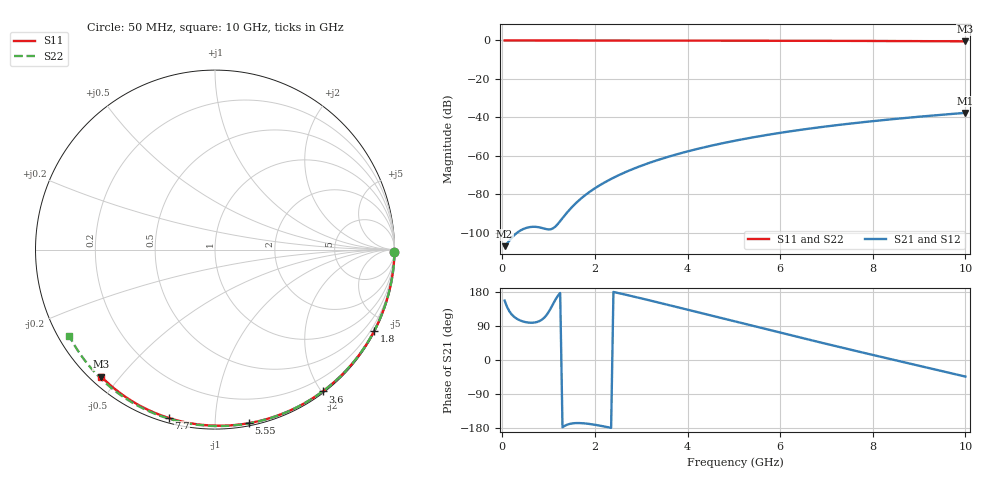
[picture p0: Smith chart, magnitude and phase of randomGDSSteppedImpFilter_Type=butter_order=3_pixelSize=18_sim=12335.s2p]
! freq	dB(S11)	phase(S11)	dB(S12)	phase(S12)
!  dB(S21)	phase(S21)	dB(S22)	phase(S22)
!S-par simulation data
#  GHz  S  DB  R 50
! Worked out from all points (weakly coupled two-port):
!   200 points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, 50 MHz to 10 GHz, reference 50 ohm
!   highest |S21| = -37.68 dB at 10 GHz (marker M1); lowest = -107.1 dB at 50 MHz (marker M2)
!   lowest |S11| = -0.4 dB at 10 GHz (marker M3), VSWR 38.90, Z = 1.54 - j22.3 ohm
!   |S11| at or under -10 dB: nowhere
!   |S22| runs from -0.5 to 0.0 dB; largest |S21 - S12| = 0
!   S11 on the Smith chart (normalised r, x): 50 MHz: open; 1.8 GHz: 0.04, -4.16; 3.6 GHz: 0.02, -2.01; 5.55 GHz: 0.02, -1.21; 7.7 GHz: 0.02, -0.76; 10 GHz: 0.03, -0.45
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0.05  -0.00 -0.8  -107.06 156.8  -107.06 156.8  -0.00 -0.9
0.45  -0.01 -6.9  -98.18 101.6  -98.18 101.6  -0.01 -7.8
0.9  -0.02 -13.6  -97.86 110.9  -97.86 110.9  -0.02 -15.4
1.3  -0.02 -19.6  -92.48 -177.6  -92.48 -177.6  -0.03 -22.2
1.75  -0.03 -26.3  -81.28 -167.0  -81.28 -167.0  -0.04 -29.7
1.8  -0.03 -27.0  -80.33 -167.6  -80.33 -167.6  -0.04 -30.5
1.85  -0.04 -27.8  -79.43 -168.2  -79.43 -168.2  -0.04 -31.4
2  -0.04 -30.0  -76.93 -170.9  -76.93 -170.9  -0.04 -33.8
2.15  -0.04 -32.2  -74.71 -174.2  -74.71 -174.2  -0.05 -36.3
2.5  -0.05 -37.2  -70.28 176.9  -70.28 176.9  -0.05 -42.0
2.9  -0.06 -43.0  -66.14 165.6  -66.14 165.6  -0.06 -48.5
3.4  -0.07 -50.0  -61.90 150.8  -61.90 150.8  -0.07 -56.4
3.6  -0.07 -52.8  -60.42 144.9  -60.42 144.9  -0.08 -59.6
4.3  -0.09 -62.4  -55.94 123.7  -55.94 123.7  -0.10 -70.3
5.05  -0.11 -72.4  -52.05 100.9  -52.05 100.9  -0.13 -81.5
5.55  -0.13 -78.9  -49.85 85.8  -49.85 85.8  -0.15 -88.8
6.1  -0.15 -85.9  -47.71 69.3  -47.71 69.3  -0.17 -96.6
6.7  -0.18 -93.3  -45.66 51.4  -45.66 51.4  -0.20 -105.0
7.7  -0.24 -105.4  -42.76 22.0  -42.76 22.0  -0.27 -118.6
8.35  -0.29 -113.0  -41.14 3.3  -41.14 3.3  -0.33 -127.3
9.2  -0.36 -122.8  -39.26 -20.9  -39.26 -20.9  -0.41 -138.7
10  -0.45 -131.8  -37.68 -43.7  -37.68 -43.7  -0.50 -149.5
